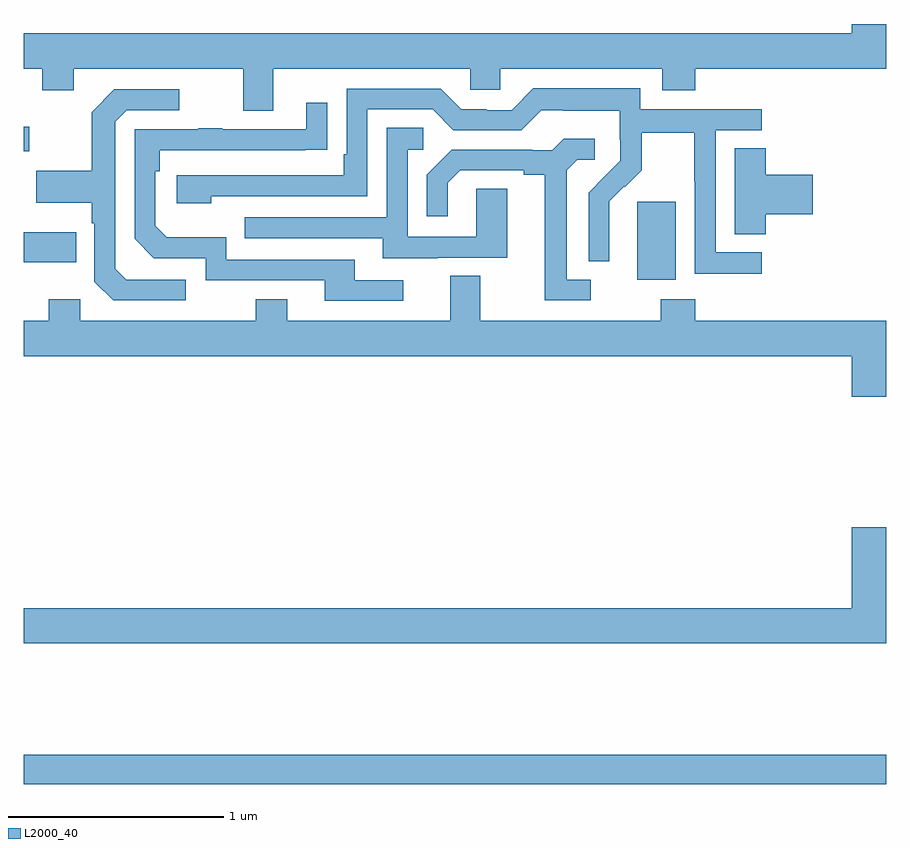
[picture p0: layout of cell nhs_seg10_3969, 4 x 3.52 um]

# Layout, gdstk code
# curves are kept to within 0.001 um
import gdstk
lib = gdstk.Library(unit=1e-6, precision=1e-09)
def R(c, l, rs):  # rectangles x0, y0, x1, y1
    for r in rs: c.add(gdstk.rectangle(r[:2], r[2:], *l))
def P(c, l, *ps):  # polygons
    for p in ps: c.add(gdstk.Polygon(p, *l))
L2000_40 = (2000, 40)

nhs_seg10_3969 = lib.new_cell('nhs_seg10_3969')
R(nhs_seg10_3969, L2000_40, [(329,1320.976,333,1321.112), (331.844,1323.314,332.023,1323.675), (329,1323.395,329.243,1323.535), (329,1323.911,329.026,1324.024)])
P(nhs_seg10_3969, L2000_40, [(330.157,1324.292),(331.071,1324.292),(331.071,1324.194),(331.209,1324.194),(331.209,1324.292),(331.961,1324.292),(331.961,1324.193),(332.114,1324.193),(332.114,1324.292),(333,1324.292),(333,1324.5),(332.84,1324.5),(332.84,1324.456),(329,1324.456),(329,1324.292),(329.086,1324.292),(329.086,1324.193),(329.233,1324.193),(329.233,1324.292),(330.017,1324.292),(330.017,1324.098),(330.157,1324.098)],
  [(332.422,1323.441),(332.208,1323.441),(332.208,1324.008),(332.422,1324.008),(332.422,1324.104),(331.86,1324.104),(331.86,1324.201),(331.363,1324.201),(331.263,1324.101),(331.148,1324.101),(331.148,1324.104),(331.029,1324.104),(330.933,1324.2),(330.498,1324.2),(330.498,1323.895),(330.485,1323.895),(330.485,1323.798),(329.709,1323.798),(329.709,1323.668),(329.87,1323.668),(329.87,1323.702),(330.594,1323.702),(330.594,1324.104),(330.897,1324.104),(330.993,1324.008),(331.308,1324.008),(331.401,1324.101),(331.501,1324.101),(331.501,1324.097),(331.764,1324.097),(331.764,1323.963),(331.766,1323.963),(331.766,1323.866),(331.62,1323.718),(331.62,1323.4),(331.716,1323.4),(331.715,1323.677),(331.785,1323.747),(331.788,1323.744),(331.865,1323.821),(331.865,1323.996),(332.11,1323.996),(332.11,1323.772),(332.112,1323.772),(332.112,1323.343),(332.422,1323.343)],
  [(329.752,1323.315),(329.475,1323.315),(329.424,1323.366),(329.424,1324.047),(329.478,1324.101),(329.722,1324.101),(329.722,1324.197),(329.421,1324.197),(329.316,1324.091),(329.316,1323.819),(329.059,1323.819),(329.059,1323.671),(329.316,1323.671),(329.316,1323.575),(329.328,1323.575),(329.328,1323.306),(329.415,1323.219),(329.752,1323.219)],
  [(330.76,1323.312),(330.535,1323.312),(330.535,1323.408),(329.94,1323.408),(329.94,1323.511),(329.663,1323.511),(329.61,1323.564),(329.61,1323.818),(329.63,1323.818),(329.63,1323.915),(330.407,1323.916),(330.407,1324.135),(330.311,1324.135),(330.311,1324.011),(329.921,1324.011),(329.921,1324.016),(329.809,1324.016),(329.809,1324.011),(329.514,1324.011),(329.514,1323.504),(329.604,1323.414),(329.844,1323.414),(329.844,1323.312),(330.395,1323.312),(330.395,1323.216),(330.76,1323.216)],
  [(330.919,1323.417),(331.243,1323.417),(331.243,1323.737),(331.098,1323.737),(331.098,1323.513),(330.78,1323.513),(330.78,1323.918),(330.853,1323.918),(330.853,1324.019),(330.684,1324.019),(330.684,1323.603),(330.025,1323.603),(330.025,1323.507),(330.665,1323.507),(330.665,1323.413),(330.919,1323.413)],
  [(331.63,1323.315),(331.519,1323.315),(331.519,1323.823),(331.566,1323.87),(331.648,1323.87),(331.648,1323.967),(331.504,1323.967),(331.452,1323.915),(331.358,1323.915),(331.358,1323.918),(330.986,1323.918),(330.87,1323.802),(330.87,1323.609),(330.967,1323.609),(330.967,1323.765),(331.024,1323.822),(331.319,1323.822),(331.319,1323.8),(331.415,1323.8),(331.415,1323.219),(331.63,1323.219)],
  [(332.441,1323.617),(332.659,1323.617),(332.659,1323.8),(332.441,1323.8),(332.441,1323.923),(332.297,1323.923),(332.297,1323.526),(332.441,1323.526)],
  [(333,1323.124),(332.114,1323.124),(332.114,1323.223),(331.954,1323.223),(331.954,1323.124),(331.117,1323.124),(331.117,1323.332),(330.977,1323.332),(330.977,1323.124),(330.223,1323.124),(330.223,1323.223),(330.076,1323.223),(330.076,1323.124),(329.262,1323.124),(329.262,1323.223),(329.116,1323.223),(329.116,1323.124),(329,1323.124),(329,1322.96),(332.84,1322.96),(332.84,1322.772),(333,1322.772)],
  [(333,1322.167),(332.84,1322.167),(332.84,1321.792),(329,1321.792),(329,1321.628),(333,1321.628)])

lib.write_gds('nhs_seg10_3969.gds')
